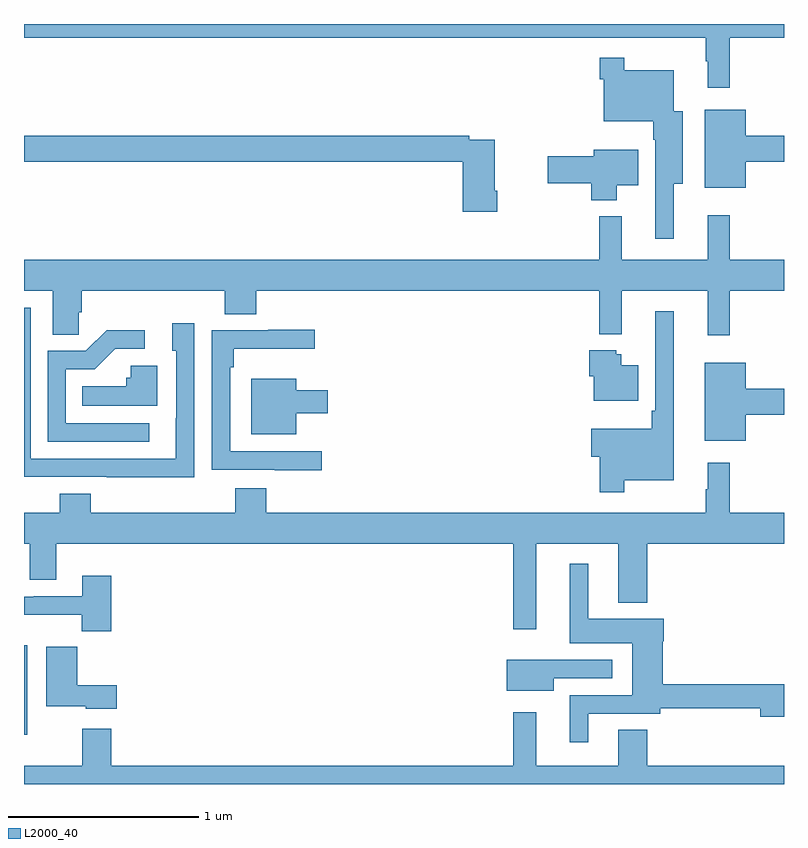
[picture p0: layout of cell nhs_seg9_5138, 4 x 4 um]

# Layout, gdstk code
import gdstk
lib = gdstk.Library(unit=1e-6, precision=1e-09)
def R(c, l, rs):  # rectangles x0, y0, x1, y1
    for r in rs: c.add(gdstk.rectangle(r[:2], r[2:], *l))
def P(c, l, *ps):  # polygons
    for p in ps: c.add(gdstk.Polygon(p, *l))
L2000_40 = (2000, 40)

nhs_seg9_5138 = lib.new_cell('nhs_seg9_5138')
R(nhs_seg9_5138, L2000_40, [(409,1184.76,409.018,1185.229)])
P(nhs_seg9_5138, L2000_40, [(412.715,1188.428),(413,1188.428),(413,1188.5),(409,1188.5),(409,1188.428),(412.587,1188.428),(412.587,1188.305),(412.598,1188.305),(412.598,1188.165),(412.715,1188.165)],
  [(412.421,1187.66),(412.468,1187.66),(412.468,1188.04),(412.42,1188.04),(412.42,1188.256),(412.159,1188.256),(412.159,1188.322),(412.03,1188.322),(412.03,1188.209),(412.05,1188.209),(412.05,1187.987),(412.311,1187.987),(412.311,1187.891),(412.323,1187.891),(412.323,1187.37),(412.421,1187.37)],
  [(412.798,1187.776),(413,1187.776),(413,1187.912),(412.798,1187.912),(412.798,1188.049),(412.583,1188.049),(412.583,1187.639),(412.798,1187.639)],
  [(411.491,1187.623),(411.478,1187.623),(411.478,1187.892),(411.344,1187.892),(411.344,1187.912),(409,1187.912),(409,1187.776),(411.308,1187.776),(411.308,1187.511),(411.491,1187.511)],
  [(412.12,1187.651),(412.234,1187.651),(412.234,1187.839),(411.998,1187.839),(411.998,1187.804),(411.756,1187.804),(411.756,1187.662),(411.986,1187.662),(411.986,1187.573),(412.12,1187.573)],
  [(412.715,1187.096),(413,1187.096),(413,1187.26),(412.715,1187.26),(412.715,1187.494),(412.598,1187.494),(412.598,1187.26),(412.145,1187.26),(412.145,1187.488),(412.027,1187.488),(412.027,1187.26),(409,1187.26),(409,1187.096),(409.151,1187.096),(409.151,1186.864),(409.289,1186.864),(409.289,1186.984),(409.304,1186.984),(409.304,1187.096),(410.057,1187.096),(410.057,1186.972),(410.222,1186.972),(410.222,1187.096),(412.027,1187.096),(412.027,1186.868),(412.145,1186.868),(412.145,1187.096),(412.598,1187.096),(412.598,1186.863),(412.715,1186.863)],
  [(409.896,1186.924),(409.781,1186.924),(409.781,1186.779),(409.8,1186.779),(409.8,1186.424),(409.799,1186.424),(409.799,1186.212),(409.035,1186.212),(409.035,1187.007),(409,1187.007),(409,1186.116),(409.435,1186.116),(409.435,1186.115),(409.896,1186.115)],
  [(412.159,1186.1),(412.42,1186.1),(412.42,1186.987),(412.323,1186.987),(412.323,1186.465),(412.303,1186.465),(412.303,1186.369),(411.986,1186.369),(411.986,1186.222),(412.03,1186.222),(412.03,1186.035),(412.159,1186.035)],
  [(410.566,1186.251),(410.085,1186.251),(410.085,1186.694),(410.105,1186.694),(410.105,1186.79),(410.53,1186.79),(410.53,1186.891),(410.285,1186.891),(410.285,1186.887),(409.989,1186.887),(409.989,1186.155),(410.321,1186.155),(410.321,1186.151),(410.566,1186.151)],
  [(409.66,1186.398),(409.221,1186.398),(409.221,1186.683),(409.372,1186.683),(409.48,1186.791),(409.636,1186.791),(409.636,1186.889),(409.436,1186.889),(409.326,1186.779),(409.125,1186.779),(409.125,1186.302),(409.66,1186.302)],
  [(412.234,1186.705),(412.144,1186.705),(412.144,1186.761),(412.116,1186.761),(412.116,1186.783),(411.974,1186.783),(411.974,1186.647),(411.998,1186.647),(411.998,1186.517),(412.234,1186.517)],
  [(412.798,1186.444),(413,1186.444),(413,1186.58),(412.798,1186.58),(412.798,1186.717),(412.583,1186.717),(412.583,1186.307),(412.798,1186.307)],
  [(409.702,1186.702),(409.562,1186.702),(409.562,1186.638),(409.537,1186.638),(409.537,1186.594),(409.306,1186.594),(409.306,1186.49),(409.702,1186.49)],
  [(410.434,1186.451),(410.599,1186.451),(410.599,1186.573),(410.434,1186.573),(410.434,1186.633),(410.195,1186.633),(410.195,1186.34),(410.434,1186.34)],
  [(411.576,1185.315),(411.697,1185.315),(411.697,1185.764),(412.127,1185.764),(412.127,1185.455),(412.28,1185.455),(412.28,1185.764),(413,1185.764),(413,1185.928),(412.715,1185.928),(412.715,1186.192),(412.598,1186.192),(412.598,1186.052),(412.587,1186.052),(412.587,1185.928),(410.276,1185.928),(410.276,1186.057),(410.111,1186.057),(410.111,1185.928),(409.352,1185.928),(409.352,1186.027),(409.187,1186.027),(409.187,1185.928),(409,1185.928),(409,1185.764),(409.031,1185.764),(409.031,1185.574),(409.171,1185.574),(409.171,1185.764),(411.576,1185.764)],
  [(411.97,1184.871),(412.348,1184.871),(412.348,1184.898),(412.874,1184.898),(412.874,1184.855),(413,1184.855),(413,1185.026),(412.361,1185.026),(412.361,1185.252),(412.366,1185.252),(412.366,1185.37),(411.97,1185.37),(411.97,1185.658),(411.872,1185.658),(411.872,1185.242),(412.202,1185.242),(412.202,1184.967),(411.872,1184.967),(411.872,1184.721),(411.97,1184.721)],
  [(409.46,1185.595),(409.307,1185.595),(409.307,1185.489),(409.051,1185.489),(409.051,1185.486),(409,1185.486),(409,1185.39),(409.305,1185.39),(409.305,1185.305),(409.46,1185.305)],
  [(409.489,1185.019),(409.28,1185.019),(409.28,1185.223),(409.118,1185.223),(409.118,1184.909),(409.326,1184.909),(409.326,1184.897),(409.489,1184.897)],
  [(411.787,1185.057),(412.096,1185.057),(412.096,1185.153),(411.783,1185.153),(411.783,1185.154),(411.542,1185.154),(411.542,1184.99),(411.787,1184.99)],
  [(413,1184.596),(412.28,1184.596),(412.28,1184.786),(412.127,1184.786),(412.127,1184.596),(411.697,1184.596),(411.697,1184.878),(411.576,1184.878),(411.576,1184.596),(409.46,1184.596),(409.46,1184.791),(409.307,1184.791),(409.307,1184.596),(409,1184.596),(409,1184.5),(413,1184.5)])

lib.write_gds('nhs_seg9_5138.gds')
